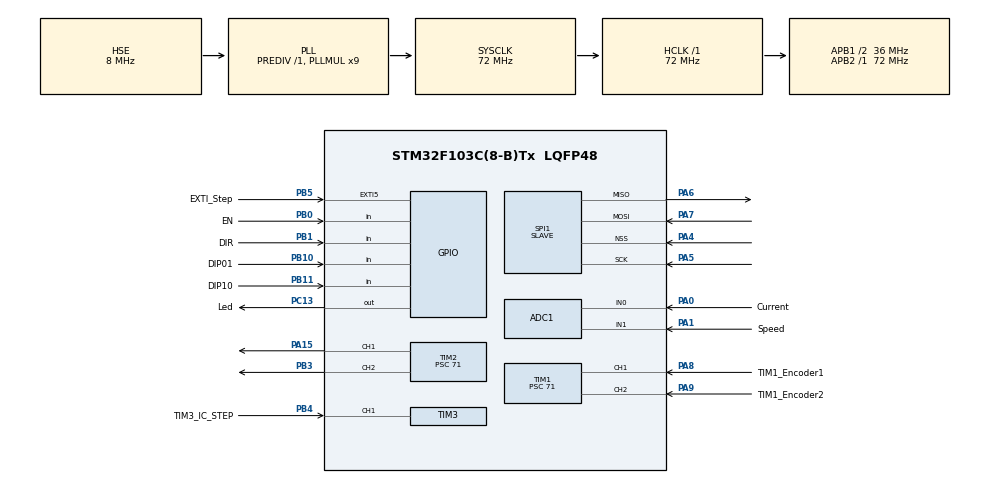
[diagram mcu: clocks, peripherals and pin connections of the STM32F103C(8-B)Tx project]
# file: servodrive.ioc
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ADC1.Channel-2\#ChannelRegularConversion=ADC_CHANNEL_0
ADC1.Channel-5\#ChannelRegularConversion=ADC_CHANNEL_1
ADC1.NbrOfConversion=2
ADC1.NbrOfConversionFlag=1
ADC1.Rank-2\#ChannelRegularConversion=1
ADC1.Rank-5\#ChannelRegularConversion=2
ADC1.SamplingTime-2\#ChannelRegularConversion=ADC_SAMPLETIME_239CYCLES_5
ADC1.SamplingTime-5\#ChannelRegularConversion=ADC_SAMPLETIME_239CYCLES_5
ADC1.master=1
Dma.ADC1.0.Direction=DMA_PERIPH_TO_MEMORY
Dma.ADC1.0.Instance=DMA1_Channel1
Dma.ADC1.0.MemDataAlignment=DMA_MDATAALIGN_HALFWORD
Dma.ADC1.0.MemInc=DMA_MINC_ENABLE
Dma.ADC1.0.Mode=DMA_CIRCULAR
Dma.ADC1.0.PeriphDataAlignment=DMA_PDATAALIGN_HALFWORD
Dma.ADC1.0.PeriphInc=DMA_PINC_DISABLE
Dma.ADC1.0.Priority=DMA_PRIORITY_LOW
Dma.Request0=ADC1
Dma.Request1=SPI1_RX
Dma.Request2=SPI1_TX
Dma.SPI1_RX.1.Direction=DMA_PERIPH_TO_MEMORY
Dma.SPI1_RX.1.Instance=DMA1_Channel2
Dma.SPI1_RX.1.MemDataAlignment=DMA_MDATAALIGN_BYTE
Dma.SPI1_RX.1.MemInc=DMA_MINC_ENABLE
Dma.SPI1_RX.1.Mode=DMA_NORMAL
Dma.SPI1_RX.1.PeriphDataAlignment=DMA_PDATAALIGN_BYTE
Dma.SPI1_RX.1.PeriphInc=DMA_PINC_DISABLE
Dma.SPI1_RX.1.Priority=DMA_PRIORITY_LOW
Dma.SPI1_TX.2.Direction=DMA_MEMORY_TO_PERIPH
Dma.SPI1_TX.2.Instance=DMA1_Channel3
Dma.SPI1_TX.2.MemDataAlignment=DMA_MDATAALIGN_BYTE
Dma.SPI1_TX.2.MemInc=DMA_MINC_ENABLE
Dma.SPI1_TX.2.Mode=DMA_NORMAL
Dma.SPI1_TX.2.PeriphDataAlignment=DMA_PDATAALIGN_BYTE
Dma.SPI1_TX.2.PeriphInc=DMA_PINC_DISABLE
Dma.SPI1_TX.2.Priority=DMA_PRIORITY_LOW
IWDG.Prescaler=IWDG_PRESCALER_32
Mcu.Family=STM32F1
Mcu.Name=STM32F103C(8-B)Tx
Mcu.Package=LQFP48
NVIC.DMA1_Channel1_IRQn=true\:0\:0\:false\:false\:true\:false\:true\:true
NVIC.DMA1_Channel2_IRQn=true\:0\:0\:false\:false\:true\:false\:true\:true
NVIC.DMA1_Channel3_IRQn=true\:0\:0\:false\:false\:true\:false\:true\:true
NVIC.EXTI9_5_IRQn=true\:0\:0\:false\:false\:true\:true\:true\:true
NVIC.PriorityGroup=NVIC_PRIORITYGROUP_4
NVIC.TIM4_IRQn=true\:0\:0\:false\:false\:true\:true\:true\:true
PA0-WKUP.GPIO_Label=Current
PA0-WKUP.Signal=ADCx_IN0
PA1.GPIO_Label=Speed
PA1.Signal=ADCx_IN1
PA13.Mode=Serial_Wire
PA13.Signal=SYS_JTMS-SWDIO
PA14.Mode=Serial_Wire
PA14.Signal=SYS_JTCK-SWCLK
PA15.GPIO_ModeDefaultPP=GPIO_MODE_AF_PP
PA15.GPIO_Speed=GPIO_SPEED_FREQ_LOW
PA15.Signal=S_TIM2_CH1_ETR
PA4.Mode=NSS_Signal_Hard_Input
PA4.Signal=SPI1_NSS
PA5.Mode=Full_Duplex_Slave
PA5.Signal=SPI1_SCK
PA6.Mode=Full_Duplex_Slave
PA6.Signal=SPI1_MISO
PA7.Mode=Full_Duplex_Slave
PA7.Signal=SPI1_MOSI
PA8.GPIO_Label=TIM1_Encoder1
PA8.Signal=S_TIM1_CH1
PA9.GPIO_Label=TIM1_Encoder2
PA9.Signal=S_TIM1_CH2
PB0.GPIO_Label=EN
PB0.Signal=GPIO_Input
PB1.GPIO_Label=DIR
PB1.Signal=GPIO_Input
PB10.GPIO_Label=DIP01
PB10.Signal=GPIO_Input
PB11.GPIO_Label=DIP10
PB11.Signal=GPIO_Input
PB3.GPIO_ModeDefaultPP=GPIO_MODE_AF_PP
PB3.GPIO_Speed=GPIO_SPEED_FREQ_LOW
PB3.Signal=S_TIM2_CH2
PB4.GPIO_Label=TIM3_IC_STEP
PB4.Signal=S_TIM3_CH1
PB5.GPIO_Label=EXTI_Step
PB5.GPIO_PuPd=GPIO_NOPULL
PB5.Signal=GPXTI5
PC13-TAMPER-RTC.GPIO_Label=Led
PC13-TAMPER-RTC.Signal=GPIO_Output
PC14-OSC32_IN.Mode=LSE-External-Oscillator
PC14-OSC32_IN.Signal=RCC_OSC32_IN
PC15-OSC32_OUT.Mode=LSE-External-Oscillator
PC15-OSC32_OUT.Signal=RCC_OSC32_OUT
PD0-OSC_IN.Mode=HSE-External-Oscillator
PD0-OSC_IN.Signal=RCC_OSC_IN
PD1-OSC_OUT.Mode=HSE-External-Oscillator
PD1-OSC_OUT.Signal=RCC_OSC_OUT
ProjectManager.HeapSize=0x200
ProjectManager.StackSize=0x400
ProjectManager.TargetToolchain=EWARM V8.32
RCC.ADCPresc=RCC_ADCPCLK2_DIV8
RCC.AHBFreq_Value=72000000
RCC.APB1CLKDivider=RCC_HCLK_DIV2
RCC.APB1Freq_Value=36000000
RCC.APB1TimFreq_Value=72000000
RCC.APB2Freq_Value=72000000
RCC.APB2TimFreq_Value=72000000
RCC.HCLKFreq_Value=72000000
RCC.PLLMUL=RCC_PLL_MUL9
RCC.PLLSourceVirtual=RCC_PLLSOURCE_HSE
RCC.SYSCLKFreq_VALUE=72000000
RCC.SYSCLKSource=RCC_SYSCLKSOURCE_PLLCLK
RCC.USBFreq_Value=72000000
SH.ADCx_IN0.0=ADC1_IN0,IN0
SH.ADCx_IN1.0=ADC1_IN1,IN1
SH.S_TIM1_CH1.0=TIM1_CH1,Encoder_Interface
SH.S_TIM1_CH2.0=TIM1_CH2,Encoder_Interface
SH.S_TIM2_CH1_ETR.0=TIM2_CH1,PWM Generation1 CH1
SH.S_TIM2_CH2.0=TIM2_CH2,PWM Generation2 CH2
SH.S_TIM3_CH1.0=TIM3_CH1,Input_Capture1_from_TI1
SPI1.CRCCalculation=SPI_CRCCALCULATION_ENABLE
SPI1.Direction=SPI_DIRECTION_2LINES
SPI1.Mode=SPI_MODE_SLAVE
SPI1.VirtualNSS=VM_NSSHARD
SPI1.VirtualType=VM_SLAVE
TIM1.CounterMode=TIM_COUNTERMODE_UP
TIM1.IC1Filter=1
TIM1.IC2Filter=1
TIM1.Prescaler=71
TIM2.Channel-PWM\ Generation1\ CH1=TIM_CHANNEL_1
TIM2.Channel-PWM\ Generation2\ CH2=TIM_CHANNEL_2
TIM2.OC1Preload_PWM=DISABLE
TIM2.OC2Preload_PWM=DISABLE
TIM2.Period=1000
TIM2.Prescaler=71
TIM3.Channel-Input_Capture1_from_TI1=TIM_CHANNEL_1
TIM3.ICFilter_CH1=3
TIM3.Period=10000
TIM3.Prescaler=7199
TIM4.AutoReloadPreload=TIM_AUTORELOAD_PRELOAD_ENABLE
TIM4.Period=1000
TIM4.Prescaler=719
TIM4.TIM_MasterOutputTrigger=TIM_TRGO_RESET
VP_IWDG_VS_IWDG.Mode=IWDG_Activate
VP_TIM4_VS_ClockSourceINT.Mode=Internal
board=custom

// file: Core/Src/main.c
/* USER CODE BEGIN Header */
/**
  ******************************************************************************
  * @file           : main.c
  * @brief          : Main program body
  ******************************************************************************
  * @attention
  *
  * Copyright (c) 2024 STMicroelectronics.
  * All rights reserved.
  *
  * This software is licensed under terms that can be found in the LICENSE file
  * in the root directory of this software component.
  * If no LICENSE file comes with this software, it is provided AS-IS.
  *
  ******************************************************************************
  */
/* USER CODE END Header */
#include "main.h"

/* USER CODE BEGIN Includes */
#include "PID_fast.h"
/* USER CODE END Includes */

ADC_HandleTypeDef hadc1;
DMA_HandleTypeDef hdma_adc1;

IWDG_HandleTypeDef hiwdg;

SPI_HandleTypeDef hspi1;
DMA_HandleTypeDef hdma_spi1_rx;
DMA_HandleTypeDef hdma_spi1_tx;

TIM_HandleTypeDef htim1;
TIM_HandleTypeDef htim2;
TIM_HandleTypeDef htim3;
TIM_HandleTypeDef htim4;

/* USER CODE BEGIN PV */
//--------my global variables----------//
volatile uint16_t dma[4];
//volatile uint8_t error_my=0, feed_motion=0, M1_motion=0, polyarity,first_intrrupt=1; // 0-off 1-rigt, 2-left, 3-Rocking, 4-brake active
//volatile uint16_t PWM_M1=0; //0-1000
//volatile uint16_t PWM_M4=0;//1000 RPS
//volatile uint32_t Freq_TIM2=10000;  //10000 is one rpm/sec or 600000 is one rpm/min
uint8_t init_state=0, tic_count = 0;
Motor_Sruct M1={0,0,0,0,0,0,0,4096,Encoder_Pulses_per_rotation*Max_RPM/600};
uint16_t Step_cnt_from_EXTI=0;

//========================================//

/* USER CODE END PV */

void SystemClock_Config(void);
static void MX_GPIO_Init(void);
static void MX_DMA_Init(void);
static void MX_ADC1_Init(void);
static void MX_IWDG_Init(void);
static void MX_SPI1_Init(void);
static void MX_TIM1_Init(void);
static void MX_TIM2_Init(void);
static void MX_TIM3_Init(void);
static void MX_TIM4_Init(void);
/* USER CODE BEGIN PFP */
void PWM_out_H_brige(int16_t PWM_in);
/* USER CODE END PFP */

int main(void)
{

  /* MCU Configuration--------------------------------------------------------*/

  /* Reset of all peripherals, Initializes the Flash interface and the Systick. */
  HAL_Init();

  /* Configure the system clock */
  SystemClock_Config();

  /* Initialize all configured peripherals */
  MX_GPIO_Init();
  MX_DMA_Init();
  MX_ADC1_Init();
  MX_IWDG_Init();
  MX_SPI1_Init();
  MX_TIM1_Init();
  MX_TIM2_Init();
  MX_TIM3_Init();
  MX_TIM4_Init();
  /* USER CODE BEGIN 2 */
  init_state=(HAL_GPIO_ReadPin(DIP01_GPIO_Port,DIP01_Pin)&0x01)|((HAL_GPIO_ReadPin(DIP10_GPIO_Port,DIP10_Pin)&0x01)<<01);
  //check this one if you will generate code again
  switch (init_state){
    case 0:
      /* creation of Debug_mode */
        M1.D_position=0;
        M1.I_position=0;
        M1.P_position=0;
        M1.velocity_sp=100;

        M1.D_velocity=1;
        M1.I_velocity=10;
        M1.P_velocity=5;
        M1.D_current=1;
        M1.I_current=10;
        M1.P_current=5;
      break;
    case 1:
      /* creation of Step_DIR */
      MX_TIM3_Init();
      break;
    case 2:
      /* creation of ManualTask */

      break;
    case 3:
      /* creation of SPI */
      MX_SPI1_Init();
      break;

    }
  HAL_ADC_Stop(&hadc1);
  HAL_ADC_Stop_DMA(&hadc1);
  HAL_ADC_Start_DMA(&hadc1,(uint32_t*)&dma,2);
  HAL_TIM_Base_Start_IT(&htim4);
  HAL_TIM_Encoder_Start(&htim1,TIM_CHANNEL_ALL);
  HAL_Delay(1);
  uint16_t dma_I_prev=dma[0],dma_V_prev=dma[1];
  uint8_t tic_prev=tic_count;
  TIM2->CCR1=0;
  TIM2->CCR2=0;
  M1.curr_direction=1;
  HAL_TIM_PWM_Start(&htim2,TIM_CHANNEL_1);
  HAL_TIM_PWM_Start(&htim2,TIM_CHANNEL_2);
  /* USER CODE END 2 */

  /* Infinite loop */
  /* USER CODE BEGIN WHILE */
  while (1)
  {
    if (tic_prev!=tic_count){ //100hz
      HAL_IWDG_Refresh(&hiwdg);
      tic_prev=tic_count;
      M1.I_M=(dma_I_prev+dma[0])>>1;
      dma_I_prev=dma[0];

      switch (init_state){
      case 3:
        /* creation of Debug_mode */
        PID_REG(&M1); // 0.01 sec
        PWM_out_H_brige(-500);
        break;
      case 1:
        /* creation of Step_DIR */
        if (HAL_GPIO_ReadPin(EN_GPIO_Port,EN_Pin)==GPIO_PIN_SET)
        {
          if (HAL_GPIO_ReadPin(DIR_GPIO_Port,DIR_Pin)==GPIO_PIN_SET)
          {
            if (Step_cnt_from_EXTI>0&&Step_cnt_from_EXTI<5000){
              M1.position_sp+=Step_cnt_from_EXTI;
              Step_cnt_from_EXTI=0;
            }
          }else{
            if (Step_cnt_from_EXTI>0&&Step_cnt_from_EXTI<5000){
              M1.position_sp-=Step_cnt_from_EXTI;
              Step_cnt_from_EXTI=0;
            }
          }
          PID_REG(&M1); // 0.01 sec
          PWM_out_H_brige(M1.PWM_out);
        } else {
          PWM_out_H_brige(0);
          Step_cnt_from_EXTI=0;
        }
        break;
      case 2:
        /* creation of ManualTask */
        if (HAL_GPIO_ReadPin(EN_GPIO_Port,EN_Pin)==GPIO_PIN_SET)
        {
          if (HAL_GPIO_ReadPin(DIR_GPIO_Port,DIR_Pin)==GPIO_PIN_SET)
          {
            M1.velocity_sp=(M1.velocity_max*(dma_V_prev+dma[1]))>>13;  //div 8096
            dma_V_prev=dma[1];
            M1.velocity_sp=(M1.velocity_sp>M1.velocity_max)?M1.velocity_max:M1.velocity_sp;
          }else{
            M1.velocity_sp=-((M1.velocity_max*(dma_V_prev+dma[1]))>>13);
            dma_V_prev=dma[1];
            M1.velocity_sp=(M1.velocity_sp*(-1)>(M1.velocity_max))?(M1.velocity_max*(-1)):M1.velocity_sp;
          }
          PID_REG(&M1); // 0.01 sec

          PWM_out_H_brige(M1.PWM_out);
        }else{
          PWM_out_H_brige(0);
        }
        break;
      case 0:
        /* creation of SPI */

        break;

      }
      HAL_ADC_Stop_DMA(&hadc1);
      HAL_ADC_Start_DMA(&hadc1,(uint32_t*)&dma,2);
    }
    /* USER CODE END WHILE */

  }
}

void SystemClock_Config(void)
{
  RCC_OscInitTypeDef RCC_OscInitStruct = {0};
  RCC_ClkInitTypeDef RCC_ClkInitStruct = {0};
  RCC_PeriphCLKInitTypeDef PeriphClkInit = {0};

  /** Initializes the RCC Oscillators according to the specified parameters
  * in the RCC_OscInitTypeDef structure.
  */
  RCC_OscInitStruct.OscillatorType = RCC_OSCILLATORTYPE_LSI|RCC_OSCILLATORTYPE_HSE;
  RCC_OscInitStruct.HSEState = RCC_HSE_ON;
  RCC_OscInitStruct.HSEPredivValue = RCC_HSE_PREDIV_DIV1;
  RCC_OscInitStruct.HSIState = RCC_HSI_ON;
  RCC_OscInitStruct.LSIState = RCC_LSI_ON;
  RCC_OscInitStruct.PLL.PLLState = RCC_PLL_ON;
  RCC_OscInitStruct.PLL.PLLSource = RCC_PLLSOURCE_HSE;
  RCC_OscInitStruct.PLL.PLLMUL = RCC_PLL_MUL9;
  if (HAL_RCC_OscConfig(&RCC_OscInitStruct) != HAL_OK)
  {
    Error_Handler();
  }

  /** Initializes the CPU, AHB and APB buses clocks
  */
  RCC_ClkInitStruct.ClockType = RCC_CLOCKTYPE_HCLK|RCC_CLOCKTYPE_SYSCLK
                              |RCC_CLOCKTYPE_PCLK1|RCC_CLOCKTYPE_PCLK2;
  RCC_ClkInitStruct.SYSCLKSource = RCC_SYSCLKSOURCE_PLLCLK;
  RCC_ClkInitStruct.AHBCLKDivider = RCC_SYSCLK_DIV1;
  RCC_ClkInitStruct.APB1CLKDivider = RCC_HCLK_DIV2;
  RCC_ClkInitStruct.APB2CLKDivider = RCC_HCLK_DIV1;

  if (HAL_RCC_ClockConfig(&RCC_ClkInitStruct, FLASH_LATENCY_2) != HAL_OK)
  {
    Error_Handler();
  }
  PeriphClkInit.PeriphClockSelection = RCC_PERIPHCLK_ADC;
  PeriphClkInit.AdcClockSelection = RCC_ADCPCLK2_DIV8;
  if (HAL_RCCEx_PeriphCLKConfig(&PeriphClkInit) != HAL_OK)
  {
    Error_Handler();
  }
}

static void MX_ADC1_Init(void)
{

  ADC_ChannelConfTypeDef sConfig = {0};

  /** Common config
  */
  hadc1.Instance = ADC1;
  hadc1.Init.ScanConvMode = ADC_SCAN_ENABLE;
  hadc1.Init.ContinuousConvMode = DISABLE;
  hadc1.Init.DiscontinuousConvMode = DISABLE;
  hadc1.Init.ExternalTrigConv = ADC_SOFTWARE_START;
  hadc1.Init.DataAlign = ADC_DATAALIGN_RIGHT;
  hadc1.Init.NbrOfConversion = 2;
  if (HAL_ADC_Init(&hadc1) != HAL_OK)
  {
    Error_Handler();
  }

  /** Configure Regular Channel
  */
  sConfig.Channel = ADC_CHANNEL_0;
  sConfig.Rank = ADC_REGULAR_RANK_1;
  sConfig.SamplingTime = ADC_SAMPLETIME_239CYCLES_5;
  if (HAL_ADC_ConfigChannel(&hadc1, &sConfig) != HAL_OK)
  {
    Error_Handler();
  }

  /** Configure Regular Channel
  */
  sConfig.Channel = ADC_CHANNEL_1;
  sConfig.Rank = ADC_REGULAR_RANK_2;
  if (HAL_ADC_ConfigChannel(&hadc1, &sConfig) != HAL_OK)
  {
    Error_Handler();
  }

}

static void MX_IWDG_Init(void)
{

  hiwdg.Instance = IWDG;
  hiwdg.Init.Prescaler = IWDG_PRESCALER_32;
  hiwdg.Init.Reload = 4095;
  if (HAL_IWDG_Init(&hiwdg) != HAL_OK)
  {
    Error_Handler();
  }

}

static void MX_SPI1_Init(void)
{

  /* SPI1 parameter configuration*/
  hspi1.Instance = SPI1;
  hspi1.Init.Mode = SPI_MODE_SLAVE;
  hspi1.Init.Direction = SPI_DIRECTION_2LINES;
  hspi1.Init.DataSize = SPI_DATASIZE_8BIT;
  hspi1.Init.CLKPolarity = SPI_POLARITY_LOW;
  hspi1.Init.CLKPhase = SPI_PHASE_1EDGE;
  hspi1.Init.NSS = SPI_NSS_HARD_INPUT;
  hspi1.Init.FirstBit = SPI_FIRSTBIT_MSB;
  hspi1.Init.TIMode = SPI_TIMODE_DISABLE;
  hspi1.Init.CRCCalculation = SPI_CRCCALCULATION_ENABLE;
  hspi1.Init.CRCPolynomial = 10;
  if (HAL_SPI_Init(&hspi1) != HAL_OK)
  {
    Error_Handler();
  }

}

static void MX_TIM1_Init(void)
{

  TIM_Encoder_InitTypeDef sConfig = {0};
  TIM_MasterConfigTypeDef sMasterConfig = {0};

  htim1.Instance = TIM1;
  htim1.Init.Prescaler = 71;
  htim1.Init.CounterMode = TIM_COUNTERMODE_UP;
  htim1.Init.Period = 65535;
  htim1.Init.ClockDivision = TIM_CLOCKDIVISION_DIV1;
  htim1.Init.RepetitionCounter = 0;
  htim1.Init.AutoReloadPreload = TIM_AUTORELOAD_PRELOAD_DISABLE;
  sConfig.EncoderMode = TIM_ENCODERMODE_TI1;
  sConfig.IC1Polarity = TIM_ICPOLARITY_RISING;
  sConfig.IC1Selection = TIM_ICSELECTION_DIRECTTI;
  sConfig.IC1Prescaler = TIM_ICPSC_DIV1;
  sConfig.IC1Filter = 1;
  sConfig.IC2Polarity = TIM_ICPOLARITY_RISING;
  sConfig.IC2Selection = TIM_ICSELECTION_DIRECTTI;
  sConfig.IC2Prescaler = TIM_ICPSC_DIV1;
  sConfig.IC2Filter = 1;
  if (HAL_TIM_Encoder_Init(&htim1, &sConfig) != HAL_OK)
  {
    Error_Handler();
  }
  sMasterConfig.MasterOutputTrigger = TIM_TRGO_RESET;
  sMasterConfig.MasterSlaveMode = TIM_MASTERSLAVEMODE_DISABLE;
  if (HAL_TIMEx_MasterConfigSynchronization(&htim1, &sMasterConfig) != HAL_OK)
  {
    Error_Handler();
  }

}

static void MX_TIM2_Init(void)
{

  TIM_MasterConfigTypeDef sMasterConfig = {0};
  TIM_OC_InitTypeDef sConfigOC = {0};

  htim2.Instance = TIM2;
  htim2.Init.Prescaler = 71;
  htim2.Init.CounterMode = TIM_COUNTERMODE_UP;
  htim2.Init.Period = 1000;
  htim2.Init.ClockDivision = TIM_CLOCKDIVISION_DIV1;
  htim2.Init.AutoReloadPreload = TIM_AUTORELOAD_PRELOAD_DISABLE;
  if (HAL_TIM_PWM_Init(&htim2) != HAL_OK)
  {
    Error_Handler();
  }
  sMasterConfig.MasterOutputTrigger = TIM_TRGO_RESET;
  sMasterConfig.MasterSlaveMode = TIM_MASTERSLAVEMODE_DISABLE;
  if (HAL_TIMEx_MasterConfigSynchronization(&htim2, &sMasterConfig) != HAL_OK)
  {
    Error_Handler();
  }
  sConfigOC.OCMode = TIM_OCMODE_PWM1;
  sConfigOC.Pulse = 0;
  sConfigOC.OCPolarity = TIM_OCPOLARITY_HIGH;
  sConfigOC.OCFastMode = TIM_OCFAST_DISABLE;
  if (HAL_TIM_PWM_ConfigChannel(&htim2, &sConfigOC, TIM_CHANNEL_1) != HAL_OK)
  {
    Error_Handler();
  }
  __HAL_TIM_DISABLE_OCxPRELOAD(&htim2, TIM_CHANNEL_1);
  if (HAL_TIM_PWM_ConfigChannel(&htim2, &sConfigOC, TIM_CHANNEL_2) != HAL_OK)
  {
    Error_Handler();
  }
  __HAL_TIM_DISABLE_OCxPRELOAD(&htim2, TIM_CHANNEL_2);
  HAL_TIM_MspPostInit(&htim2);

}

static void MX_TIM3_Init(void)
{

  TIM_MasterConfigTypeDef sMasterConfig = {0};
  TIM_IC_InitTypeDef sConfigIC = {0};

  htim3.Instance = TIM3;
  htim3.Init.Prescaler = 7199;
  htim3.Init.CounterMode = TIM_COUNTERMODE_UP;
  htim3.Init.Period = 10000;
  htim3.Init.ClockDivision = TIM_CLOCKDIVISION_DIV1;
  htim3.Init.AutoReloadPreload = TIM_AUTORELOAD_PRELOAD_DISABLE;
  if (HAL_TIM_IC_Init(&htim3) != HAL_OK)
  {
    Error_Handler();
  }
  sMasterConfig.MasterOutputTrigger = TIM_TRGO_RESET;
  sMasterConfig.MasterSlaveMode = TIM_MASTERSLAVEMODE_DISABLE;
  if (HAL_TIMEx_MasterConfigSynchronization(&htim3, &sMasterConfig) != HAL_OK)
  {
    Error_Handler();
  }
  sConfigIC.ICPolarity = TIM_INPUTCHANNELPOLARITY_RISING;
  sConfigIC.ICSelection = TIM_ICSELECTION_DIRECTTI;
  sConfigIC.ICPrescaler = TIM_ICPSC_DIV1;
  sConfigIC.ICFilter = 3;
  if (HAL_TIM_IC_ConfigChannel(&htim3, &sConfigIC, TIM_CHANNEL_1) != HAL_OK)
  {
    Error_Handler();
  }

}

static void MX_TIM4_Init(void)
{

  TIM_ClockConfigTypeDef sClockSourceConfig = {0};
  TIM_MasterConfigTypeDef sMasterConfig = {0};

  htim4.Instance = TIM4;
  htim4.Init.Prescaler = 719;
  htim4.Init.CounterMode = TIM_COUNTERMODE_UP;
  htim4.Init.Period = 1000;
  htim4.Init.ClockDivision = TIM_CLOCKDIVISION_DIV1;
  htim4.Init.AutoReloadPreload = TIM_AUTORELOAD_PRELOAD_ENABLE;
  if (HAL_TIM_Base_Init(&htim4) != HAL_OK)
  {
    Error_Handler();
  }
  sClockSourceConfig.ClockSource = TIM_CLOCKSOURCE_INTERNAL;
  if (HAL_TIM_ConfigClockSource(&htim4, &sClockSourceConfig) != HAL_OK)
  {
    Error_Handler();
  }
  sMasterConfig.MasterOutputTrigger = TIM_TRGO_RESET;
  sMasterConfig.MasterSlaveMode = TIM_MASTERSLAVEMODE_DISABLE;
  if (HAL_TIMEx_MasterConfigSynchronization(&htim4, &sMasterConfig) != HAL_OK)
  {
    Error_Handler();
  }

}

static void MX_DMA_Init(void)
{

  /* DMA controller clock enable */
  __HAL_RCC_DMA1_CLK_ENABLE();

  /* DMA interrupt init */
  /* DMA1_Channel1_IRQn interrupt configuration */
  HAL_NVIC_SetPriority(DMA1_Channel1_IRQn, 0, 0);
  HAL_NVIC_EnableIRQ(DMA1_Channel1_IRQn);
  /* DMA1_Channel2_IRQn interrupt configuration */
  HAL_NVIC_SetPriority(DMA1_Channel2_IRQn, 0, 0);
  HAL_NVIC_EnableIRQ(DMA1_Channel2_IRQn);
  /* DMA1_Channel3_IRQn interrupt configuration */
  HAL_NVIC_SetPriority(DMA1_Channel3_IRQn, 0, 0);
  HAL_NVIC_EnableIRQ(DMA1_Channel3_IRQn);

}

static void MX_GPIO_Init(void)
{
  GPIO_InitTypeDef GPIO_InitStruct = {0};

  /* GPIO Ports Clock Enable */
  __HAL_RCC_GPIOC_CLK_ENABLE();
  __HAL_RCC_GPIOD_CLK_ENABLE();
  __HAL_RCC_GPIOA_CLK_ENABLE();
  __HAL_RCC_GPIOB_CLK_ENABLE();

  /*Configure GPIO pin Output Level */
  HAL_GPIO_WritePin(Led_GPIO_Port, Led_Pin, GPIO_PIN_RESET);

  /*Configure GPIO pin : Led_Pin */
  GPIO_InitStruct.Pin = Led_Pin;
  GPIO_InitStruct.Mode = GPIO_MODE_OUTPUT_PP;
  GPIO_InitStruct.Pull = GPIO_NOPULL;
  GPIO_InitStruct.Speed = GPIO_SPEED_FREQ_LOW;
  HAL_GPIO_Init(Led_GPIO_Port, &GPIO_InitStruct);

  /*Configure GPIO pins : EN_Pin DIR_Pin DIP01_Pin DIP10_Pin */
  GPIO_InitStruct.Pin = EN_Pin|DIR_Pin|DIP01_Pin|DIP10_Pin;
  GPIO_InitStruct.Mode = GPIO_MODE_INPUT;
  GPIO_InitStruct.Pull = GPIO_NOPULL;
  HAL_GPIO_Init(GPIOB, &GPIO_InitStruct);

  /*Configure GPIO pin : EXTI_Step_Pin */
  GPIO_InitStruct.Pin = EXTI_Step_Pin;
  GPIO_InitStruct.Mode = GPIO_MODE_IT_RISING;
  GPIO_InitStruct.Pull = GPIO_NOPULL;
  HAL_GPIO_Init(EXTI_Step_GPIO_Port, &GPIO_InitStruct);

  /* EXTI interrupt init*/
  HAL_NVIC_SetPriority(EXTI9_5_IRQn, 0, 0);
  HAL_NVIC_EnableIRQ(EXTI9_5_IRQn);

}

/* USER CODE BEGIN 4 */
void PWM_out_H_brige(int16_t PWM_in)
{
  if(PWM_in>=5)
  {
    TIM2->CCR1=PWM_in;
    TIM2->CCR2=PWM_in;//0
    M1.curr_direction=1;
  }else if (PWM_in<=-5){
    TIM2->CCR1=PWM_in;//0
    TIM2->CCR2=PWM_in*(-1);
    M1.curr_direction=-1;
  }
}

/* USER CODE END 4 */

void Error_Handler(void)
{
  __disable_irq();
  while (1)
  {
  }
}
